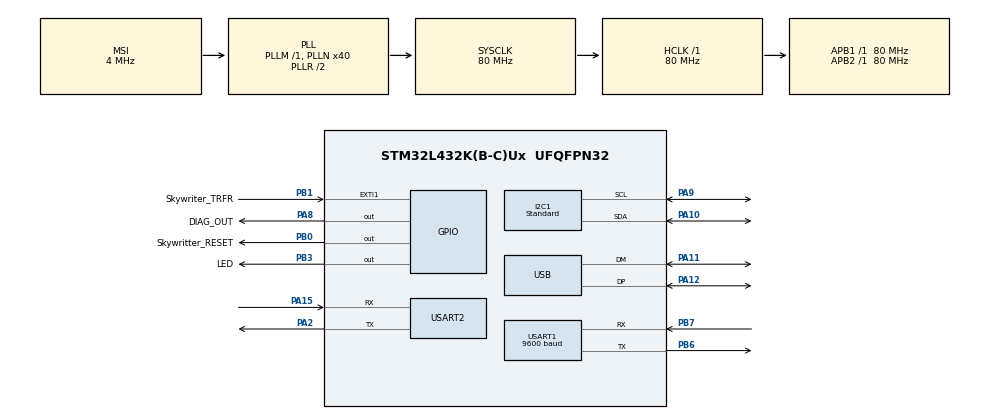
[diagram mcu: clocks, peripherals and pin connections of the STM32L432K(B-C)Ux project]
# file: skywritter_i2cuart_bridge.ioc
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Dma.I2C1_RX.4.Direction=DMA_PERIPH_TO_MEMORY
Dma.I2C1_RX.4.Instance=DMA2_Channel6
Dma.I2C1_RX.4.MemDataAlignment=DMA_MDATAALIGN_BYTE
Dma.I2C1_RX.4.MemInc=DMA_MINC_ENABLE
Dma.I2C1_RX.4.Mode=DMA_NORMAL
Dma.I2C1_RX.4.PeriphDataAlignment=DMA_PDATAALIGN_BYTE
Dma.I2C1_RX.4.PeriphInc=DMA_PINC_DISABLE
Dma.I2C1_RX.4.Priority=DMA_PRIORITY_LOW
Dma.I2C1_TX.5.Direction=DMA_MEMORY_TO_PERIPH
Dma.I2C1_TX.5.Instance=DMA2_Channel7
Dma.I2C1_TX.5.MemDataAlignment=DMA_MDATAALIGN_BYTE
Dma.I2C1_TX.5.MemInc=DMA_MINC_ENABLE
Dma.I2C1_TX.5.Mode=DMA_NORMAL
Dma.I2C1_TX.5.PeriphDataAlignment=DMA_PDATAALIGN_BYTE
Dma.I2C1_TX.5.PeriphInc=DMA_PINC_DISABLE
Dma.I2C1_TX.5.Priority=DMA_PRIORITY_LOW
Dma.Request0=USART1_RX
Dma.Request1=USART1_TX
Dma.Request2=USART2_RX
Dma.Request3=USART2_TX
Dma.Request4=I2C1_RX
Dma.Request5=I2C1_TX
Dma.USART1_RX.0.Direction=DMA_PERIPH_TO_MEMORY
Dma.USART1_RX.0.Instance=DMA1_Channel5
Dma.USART1_RX.0.MemDataAlignment=DMA_MDATAALIGN_BYTE
Dma.USART1_RX.0.MemInc=DMA_MINC_ENABLE
Dma.USART1_RX.0.Mode=DMA_NORMAL
Dma.USART1_RX.0.PeriphDataAlignment=DMA_PDATAALIGN_BYTE
Dma.USART1_RX.0.PeriphInc=DMA_PINC_DISABLE
Dma.USART1_RX.0.Priority=DMA_PRIORITY_LOW
Dma.USART1_TX.1.Direction=DMA_MEMORY_TO_PERIPH
Dma.USART1_TX.1.Instance=DMA1_Channel4
Dma.USART1_TX.1.MemDataAlignment=DMA_MDATAALIGN_BYTE
Dma.USART1_TX.1.MemInc=DMA_MINC_ENABLE
Dma.USART1_TX.1.Mode=DMA_NORMAL
Dma.USART1_TX.1.PeriphDataAlignment=DMA_PDATAALIGN_BYTE
Dma.USART1_TX.1.PeriphInc=DMA_PINC_DISABLE
Dma.USART1_TX.1.Priority=DMA_PRIORITY_LOW
Dma.USART2_RX.2.Direction=DMA_PERIPH_TO_MEMORY
Dma.USART2_RX.2.Instance=DMA1_Channel6
Dma.USART2_RX.2.MemDataAlignment=DMA_MDATAALIGN_BYTE
Dma.USART2_RX.2.MemInc=DMA_MINC_ENABLE
Dma.USART2_RX.2.Mode=DMA_NORMAL
Dma.USART2_RX.2.PeriphDataAlignment=DMA_PDATAALIGN_BYTE
Dma.USART2_RX.2.PeriphInc=DMA_PINC_DISABLE
Dma.USART2_RX.2.Priority=DMA_PRIORITY_LOW
Dma.USART2_TX.3.Direction=DMA_MEMORY_TO_PERIPH
Dma.USART2_TX.3.Instance=DMA1_Channel7
Dma.USART2_TX.3.MemDataAlignment=DMA_MDATAALIGN_BYTE
Dma.USART2_TX.3.MemInc=DMA_MINC_ENABLE
Dma.USART2_TX.3.Mode=DMA_NORMAL
Dma.USART2_TX.3.PeriphDataAlignment=DMA_PDATAALIGN_BYTE
Dma.USART2_TX.3.PeriphInc=DMA_PINC_DISABLE
Dma.USART2_TX.3.Priority=DMA_PRIORITY_LOW
I2C1.I2C_Speed_Mode=I2C_Standard
I2C1.Timing=0x10909CEC
Mcu.Family=STM32L4
Mcu.Name=STM32L432K(B-C)Ux
Mcu.Package=UFQFPN32
NVIC.DMA1_Channel4_IRQn=true\:0\:0\:false\:false\:true\:false
NVIC.DMA1_Channel5_IRQn=true\:0\:0\:false\:false\:true\:false
NVIC.DMA1_Channel6_IRQn=true\:0\:0\:false\:false\:true\:false
NVIC.DMA1_Channel7_IRQn=true\:0\:0\:false\:false\:true\:false
NVIC.DMA2_Channel6_IRQn=true\:0\:0\:false\:false\:true\:false
NVIC.DMA2_Channel7_IRQn=true\:0\:0\:false\:false\:true\:false
NVIC.EXTI1_IRQn=true\:0\:0\:false\:false\:true\:true
NVIC.I2C1_ER_IRQn=true\:0\:0\:false\:false\:true\:true
NVIC.I2C1_EV_IRQn=true\:0\:0\:false\:false\:true\:true
NVIC.PriorityGroup=NVIC_PRIORITYGROUP_4
NVIC.USART1_IRQn=true\:0\:0\:false\:false\:true\:true
NVIC.USART2_IRQn=true\:0\:0\:false\:false\:true\:true
NVIC.USB_IRQn=true\:0\:0\:false\:false\:true\:false
PA10.Mode=I2C
PA10.Signal=I2C1_SDA
PA11.Mode=Device
PA11.Signal=USB_DM
PA12.Mode=Device
PA12.Signal=USB_DP
PA13\ (JTMS-SWDIO).Mode=Serial_Wire
PA13\ (JTMS-SWDIO).Signal=SYS_JTMS-SWDIO
PA14\ (JTCK-SWCLK).Mode=Serial_Wire
PA14\ (JTCK-SWCLK).Signal=SYS_JTCK-SWCLK
PA15\ (JTDI).Mode=Asynchronous
PA15\ (JTDI).Signal=USART2_RX
PA2.Mode=Asynchronous
PA2.Signal=USART2_TX
PA8.GPIO_Label=DIAG_OUT
PA8.Signal=GPIO_Output
PA9.Mode=I2C
PA9.Signal=I2C1_SCL
PB0.GPIO_Label=Skywritter_RESET
PB0.PinState=GPIO_PIN_RESET
PB0.Signal=GPIO_Output
PB1.GPIO_Label=Skywriter_TRFR
PB1.GPIO_ModeDefaultEXTI=GPIO_MODE_IT_FALLING
PB1.GPIO_PuPd=GPIO_PULLUP
PB1.Signal=GPXTI1
PB3\ (JTDO-TRACESWO).GPIO_Label=LED
PB3\ (JTDO-TRACESWO).PinState=GPIO_PIN_RESET
PB3\ (JTDO-TRACESWO).Signal=GPIO_Output
PB6.Mode=Asynchronous
PB6.Signal=USART1_TX
PB7.Mode=Asynchronous
PB7.Signal=USART1_RX
PC14-OSC32_IN\ (PC14).Mode=LSE-External-Oscillator
PC14-OSC32_IN\ (PC14).Signal=RCC_OSC32_IN
PC15-OSC32_OUT\ (PC15).Mode=LSE-External-Oscillator
PC15-OSC32_OUT\ (PC15).Signal=RCC_OSC32_OUT
ProjectManager.HeapSize=0x200
ProjectManager.StackSize=0x400
ProjectManager.TargetToolchain=Makefile
RCC.ADCFreq_Value=48000000
RCC.AHBFreq_Value=80000000
RCC.APB1Freq_Value=80000000
RCC.APB1TimFreq_Value=80000000
RCC.APB2Freq_Value=80000000
RCC.APB2TimFreq_Value=80000000
RCC.CortexFreq_Value=80000000
RCC.EnableCSSLSE=true
RCC.HCLKFreq_Value=80000000
RCC.HSE_VALUE=8000000
RCC.HSI48_VALUE=48000000
RCC.HSI_VALUE=16000000
RCC.MSI_VALUE=4000000
RCC.PLLN=40
RCC.PLLSAI1N=24
RCC.RTCClockSelection=RCC_RTCCLKSOURCE_LSE
RCC.SYSCLKFreq_VALUE=80000000
RCC.SYSCLKSource=RCC_SYSCLKSOURCE_PLLCLK
RCC.USBFreq_Value=48000000
RCC.VCOOutputFreq_Value=160000000
USART1.BaudRate=9600
USART1.VirtualMode-Asynchronous=VM_ASYNC
USART2.VirtualMode-Asynchronous=VM_ASYNC
USB_DEVICE.CLASS_NAME_FS=CUSTOMHID
USB_DEVICE.VirtualMode=CustomHid
USB_DEVICE.VirtualModeFS=Custom_Hid_FS
VP_RTC_VS_RTC_Activate.Mode=RTC_Enabled
VP_RTC_VS_RTC_Calendar.Mode=RTC_Calendar
VP_USB_DEVICE_VS_USB_DEVICE_CUSTOM_HID_FS.Mode=CUSTOM_HID_FS
board=custom

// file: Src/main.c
/* USER CODE BEGIN Header */
/**
  ******************************************************************************
  * @file           : main.c
  * @brief          : Main program body
  ******************************************************************************
  * This notice applies to any and all portions of this file
  * that are not between comment pairs USER CODE BEGIN and
  * USER CODE END. Other portions of this file, whether
  * inserted by the user or by software development tools
  * are owned by their respective copyright owners.
  *
  * Copyright (c) 2018 STMicroelectronics International N.V.
  * All rights reserved.
  *
  * Redistribution and use in source and binary forms, with or without
  * modification, are permitted, provided that the following conditions are met:
  *
  * 1. Redistribution of source code must retain the above copyright notice,
  *    this list of conditions and the following disclaimer.
  * 2. Redistributions in binary form must reproduce the above copyright notice,
  *    this list of conditions and the following disclaimer in the documentation
  *    and/or other materials provided with the distribution.
  * 3. Neither the name of STMicroelectronics nor the names of other
  *    contributors to this software may be used to endorse or promote products
  *    derived from this software without specific written permission.
  * 4. This software, including modifications and/or derivative works of this
  *    software, must execute solely and exclusively on microcontroller or
  *    microprocessor devices manufactured by or for STMicroelectronics.
  * 5. Redistribution and use of this software other than as permitted under
  *    this license is void and will automatically terminate your rights under
  *    this license.
  *
  * THIS SOFTWARE IS PROVIDED BY STMICROELECTRONICS AND CONTRIBUTORS "AS IS"
  * AND ANY EXPRESS, IMPLIED OR STATUTORY WARRANTIES, INCLUDING, BUT NOT
  * LIMITED TO, THE IMPLIED WARRANTIES OF MERCHANTABILITY, FITNESS FOR A
  * PARTICULAR PURPOSE AND NON-INFRINGEMENT OF THIRD PARTY INTELLECTUAL PROPERTY
  * RIGHTS ARE DISCLAIMED TO THE FULLEST EXTENT PERMITTED BY LAW. IN NO EVENT
  * SHALL STMICROELECTRONICS OR CONTRIBUTORS BE LIABLE FOR ANY DIRECT, INDIRECT,
  * INCIDENTAL, SPECIAL, EXEMPLARY, OR CONSEQUENTIAL DAMAGES (INCLUDING, BUT NOT
  * LIMITED TO, PROCUREMENT OF SUBSTITUTE GOODS OR SERVICES; LOSS OF USE, DATA,
  * OR PROFITS; OR BUSINESS INTERRUPTION) HOWEVER CAUSED AND ON ANY THEORY OF
  * LIABILITY, WHETHER IN CONTRACT, STRICT LIABILITY, OR TORT (INCLUDING
  * NEGLIGENCE OR OTHERWISE) ARISING IN ANY WAY OUT OF THE USE OF THIS SOFTWARE,
  * EVEN IF ADVISED OF THE POSSIBILITY OF SUCH DAMAGE.
  *
  ******************************************************************************
  */
/* USER CODE END Header */

#include "main.h"
#include "usb_device.h"

/* USER CODE BEGIN Includes */
#include "stdio.h"
#include "serial_io.h"
/* USER CODE END Includes */

I2C_HandleTypeDef hi2c1;
DMA_HandleTypeDef hdma_i2c1_rx;
DMA_HandleTypeDef hdma_i2c1_tx;

RTC_HandleTypeDef hrtc;

UART_HandleTypeDef huart1;
UART_HandleTypeDef huart2;
DMA_HandleTypeDef hdma_usart1_rx;
DMA_HandleTypeDef hdma_usart1_tx;
DMA_HandleTypeDef hdma_usart2_rx;
DMA_HandleTypeDef hdma_usart2_tx;

/* USER CODE BEGIN PV */
/* Private variables ---------------------------------------------------------*/
typedef enum
{
    I2C_IDLE,
    I2C_DATA_READY,
    I2C_WAITING_FOR_HEADER,
    I2C_HEADER_RECEIVED,
    I2C_WAITING_FOR_PAYLOAD,
    I2C_PAYLOAD_RECEIVED,
    I2C_WAITING_FRAME_SEND,
    I2C_ERROR,
} I2C_RX_STATE;

typedef enum
{
    UART_IDLE,
    UART_WAITING_FOR_HEADER,
    UART_HEADER_READY,
    UART_WAITING_FOR_FRAME,
    UART_FRAME_READY,
    UART_WAITING_FOR_DISPATCHING,
    UART_MESSAGE_DISPATCHED,
    UART_WAITING_FOR_I2C_ANSWER,
    UART_WAITING_FOR_ANSWER_SENT,
} UART_RX_STATE;

typedef struct i2c_heder_t_
{
    uint8_t size;
    uint8_t flags;
    uint8_t seqnr;
    uint8_t msgid;
} i2c_heder_t;

static const uint8_t UART_HEADER[]={0xFE, 0xFF};
static const uint32_t TIMEOUT_MS = 100;
static const uint16_t I2C_MSG_SIZE = BUF_SIZE;

static uint8_t i2c_buf[BUF_SIZE];
static uint8_t rx_buf[BUF_SIZE];
static uint8_t tx_buf[BUF_SIZE];
static GPIO_InitTypeDef skywr_pin;

//#define UART_USE_BUFFER 1

static sio_t log_io = {
    .uart = &huart2,
    .ready = {true, true},
#if defined(UART_USE_BUFFER)
    .buffer_size ={BUF_SIZE, BUF_SIZE},
    .buffer = {rx_buf, tx_buf},
#else
    .buffer_size ={0, 0},
    .buffer = {NULL, NULL},
#endif
    .bytes_in_buffer = {0,0},
};
static I2C_RX_STATE i2c_state = I2C_IDLE;
#if 0
// Size  Flags  Seq   ID      Command        Reserved      Argument 0                     Argument 1
// Command, Argument 1 and Argument 2 are sent LSByte first, so 1 = 0x01 0x00 etc
// Enable AirWheel, requires 0x20 to be sent in Argument 0 and 1
static const uint8_t air_wheel_en[] = {0x00, 0x00, 0xA2, 0x90, 0x00, 0x00, 0x00, 0x20, 0x00, 0x00, 0x00, 0x20, 0x00, 0x00, 0x00};
// Enable all gestures and X/Y/Z data, 0 = Garbage, 1 = Flick WE, 2 = Flick EW, 3 = Flick SN, 4 = Flick NS, 5 = Circle CW, 6 = Circle CCW
static const uint8_t geasture_en[] = {0x00, 0x00, 0xA2, 0x85, 0x00, 0x00, 0x00, 0x7F, 0x00, 0x00, 0x00, 0x7F, 0x00, 0x00, 0x00};
// Enable all data output 0 = DSP, 1 = Gesture, 2 = Touch, 3 = AirWheel, 4 = Position
static const uint8_t all_en[] = {0x00, 0x00, 0xA2, 0xA0, 0x00, 0x00, 0x00, 0x1F, 0x00, 0x00, 0x00, 0x1F, 0x00, 0x00, 0x00};
// Disable auto-calibration
static const uint8_t autocalib_disable[] = {0x00, 0x00, 0xA2, 0x80, 0x00 , 0x00, 0x00, 0x00, 0x00, 0x00, 0x00, 0x1F, 0x00, 0x00, 0x00};
#endif
/*
 * UART RX stuff
 */
static UART_RX_STATE uart_state = UART_IDLE;

/* USER CODE END PV */

void SystemClock_Config(void);
static void MX_GPIO_Init(void);
static void MX_DMA_Init(void);
static void MX_RTC_Init(void);
static void MX_USART1_UART_Init(void);
static void MX_USART2_UART_Init(void);
static void MX_I2C1_Init(void);
/* USER CODE BEGIN PFP */
/* Private function prototypes -----------------------------------------------*/

/* USER CODE END PFP */

/* USER CODE BEGIN 0 */
/*
 * Handling of communication to the I2C
 */
void HAL_GPIO_EXTI_Callback(uint16_t GPIO_Pin)
{
    if ( (GPIO_Pin == Skywriter_TRFR_Pin) &&
         ( (i2c_state == I2C_IDLE) || (i2c_state == UART_WAITING_FOR_I2C_ANSWER)))
    {
        HAL_GPIO_WritePin(DIAG_OUT_GPIO_Port, DIAG_OUT_Pin, GPIO_PIN_SET);
        i2c_state = I2C_DATA_READY;
    }
}

void HAL_I2C_MemRxCpltCallback(I2C_HandleTypeDef *I2cHandle)
{
    printf("HAL_I2C_MemRxCpltCallback"NL);
}

void HAL_I2C_MasterRxCpltCallback(I2C_HandleTypeDef *I2cHandle)
{
    if ((I2cHandle == &hi2c1) && (i2c_state == I2C_WAITING_FOR_HEADER))
    {
        i2c_state = I2C_HEADER_RECEIVED;
    }
    if ((I2cHandle == &hi2c1) && (i2c_state == I2C_WAITING_FOR_PAYLOAD))
    {
        i2c_state = I2C_PAYLOAD_RECEIVED;
    }
}

void HAL_I2C_MasterTxCpltCallback(I2C_HandleTypeDef *I2cHandle)
{
    if ((I2cHandle == &hi2c1) && (i2c_state == I2C_WAITING_FRAME_SEND))
    {
        uart_state = UART_MESSAGE_DISPATCHED;
        i2c_state = I2C_IDLE;
    }
}

void HAL_I2C_ErrorCallback(I2C_HandleTypeDef *I2cHandle)
{
    if (I2cHandle == &hi2c1)
    {
        i2c_state = I2C_ERROR;
    }
}

void i2c_assert_trfr()
{
    skywr_pin.Mode = GPIO_MODE_OUTPUT_PP;
    HAL_GPIO_WritePin(GPIOB, Skywriter_TRFR_Pin, GPIO_PIN_RESET);
    HAL_GPIO_Init(GPIOB, &skywr_pin);
    //printf("I2C data ready"NL);
    HAL_GPIO_WritePin(LED_GPIO_Port, LED_Pin, GPIO_PIN_SET);
}

void i2c_release_trfr()
{
    HAL_GPIO_WritePin(DIAG_OUT_GPIO_Port, DIAG_OUT_Pin, GPIO_PIN_RESET);
    skywr_pin.Mode = GPIO_MODE_IT_FALLING;
    HAL_GPIO_Init(GPIOB, &skywr_pin);
    HAL_GPIO_WritePin(LED_GPIO_Port, LED_Pin, GPIO_PIN_RESET);
}
/*
 * Handle of UART RX to the host
 */
void HAL_UART_RxCpltCallback(UART_HandleTypeDef *uart)
{
    if (uart->Instance == USART1)
    {
        if (uart_state == UART_WAITING_FOR_HEADER)
        {
            uart_state = UART_HEADER_READY;
        }
        else if (uart_state == UART_WAITING_FOR_FRAME)
        {
            uart_state = UART_FRAME_READY;
        }
    }
}

void HAL_UART_TxCpltCallback(UART_HandleTypeDef *uart)
{
    if (uart->Instance == USART1)
    {
        if (uart_state == UART_WAITING_FOR_ANSWER_SENT)
        {
            uart_state = UART_IDLE;
        }
    }
}

void HAL_UART_ErrorCallback(UART_HandleTypeDef *uart)
{
    if (uart->Instance == USART1)
    {
        uart_state = UART_IDLE;
    }
}
/*
 * UART state machine for data received from the host
 */
void handle_uart_rx(UART_HandleTypeDef *uart)
{
    if (uart->Instance == USART1)
    {
        if (uart_state == UART_IDLE)
        {
            rx_buf[0]=0;
            HAL_UART_Receive_DMA(uart, rx_buf, UART_HEADER_SIZE+I2C_HEADER_SIZE);
            uart_state = UART_WAITING_FOR_HEADER;
            printf("UWFH"NL);
        }
        else if (uart_state == UART_HEADER_READY)
        {
            uint16_t msg_size = rx_buf[UART_HEADER_SIZE];
            if (msg_size>250)
            {
                printf("UWFF %d"NL, msg_size);
            }
            HAL_UART_Receive_DMA(uart, &rx_buf[UART_HEADER_SIZE+I2C_HEADER_SIZE], msg_size-I2C_HEADER_SIZE);
            uart_state = UART_WAITING_FOR_FRAME;
        }
        else if (uart_state == UART_FRAME_READY)
        {
            uart_state = UART_WAITING_FOR_DISPATCHING;
            printf("UWFD"NL);
        }
        else if (uart_state == UART_MESSAGE_DISPATCHED)
        {
            uart_state = UART_IDLE;
            printf("II"NL);
            printf("UI"NL);
        }
    }
    return;
}

/* USER CODE END 0 */

int main(void)
{
  /* USER CODE BEGIN 1 */
    uint32_t i2c_transfer_start = 0;
    uint32_t ltick = HAL_GetTick();
  /* USER CODE END 1 */

  /* MCU Configuration--------------------------------------------------------*/

  /* Reset of all peripherals, Initializes the Flash interface and the Systick. */
  HAL_Init();

  /* Configure the system clock */
  SystemClock_Config();

  /* Initialize all configured peripherals */
  MX_GPIO_Init();
  MX_DMA_Init();
  MX_RTC_Init();
  MX_USART1_UART_Init();
  MX_USART2_UART_Init();
  MX_USB_DEVICE_Init();
  MX_I2C1_Init();
  /* USER CODE BEGIN 2 */
    tx_buf[0] = UART_HEADER[0];
    tx_buf[1] = UART_HEADER[1];
    serial_io_init(&log_io);
    printf(NL NL">>> Start up"NL);
    skywr_pin.Pin = Skywriter_TRFR_Pin;
    skywr_pin.Mode = GPIO_MODE_IT_FALLING;
    skywr_pin.Pull = GPIO_NOPULL;
    skywr_pin.Speed = GPIO_SPEED_FREQ_LOW;

    HAL_GPIO_WritePin(Skywritter_RESET_GPIO_Port, Skywritter_RESET_Pin, GPIO_PIN_RESET);
    HAL_Delay(10);
    HAL_GPIO_WritePin(Skywritter_RESET_GPIO_Port, Skywritter_RESET_Pin, GPIO_PIN_SET);

  /* USER CODE END 2 */

  /* Infinite loop */
  /* USER CODE BEGIN WHILE */
    while (1)
    {
        uint32_t tick = HAL_GetTick();
        if (i2c_state == I2C_DATA_READY)
        {
            i2c_assert_trfr();
            i2c_transfer_start = tick;
            //printf("I2C data ready"NL);
            /* obtain data from I2C */
            HAL_I2C_Master_Sequential_Receive_DMA(&hi2c1, SKYWRITER_I2C_ADR<<1, i2c_buf, I2C_HEADER_SIZE, I2C_FIRST_AND_NEXT_FRAME);
            i2c_state =I2C_WAITING_FOR_HEADER;
            printf("IWFH"NL);
        }
        else if (i2c_state == I2C_HEADER_RECEIVED)
        {
            uint16_t msg_size = i2c_buf[0]-I2C_HEADER_SIZE;
            HAL_I2C_Master_Sequential_Receive_DMA(&hi2c1, SKYWRITER_I2C_ADR<<1, &i2c_buf[I2C_HEADER_SIZE], msg_size, I2C_LAST_FRAME);
            i2c_state =I2C_WAITING_FOR_PAYLOAD;
            printf("IWFP"NL);
        }
        else if (i2c_state == I2C_PAYLOAD_RECEIVED)
        {
            uint16_t trsfr_size = i2c_buf[0]+UART_HEADER_SIZE;
            memcpy(&tx_buf[UART_HEADER_SIZE], i2c_buf, i2c_buf[0]);
            //uint16_t trsfr_size = UART_HEADER_SIZE;
            //_write(NULL, i2c_buf, trsfr_size);
            /*
            printf("Received I2C data (%d)"NL, timeout);
            for (uint8_t i=0;i<i2c_buf[0];i+=16)
            {
                printf("0x%02x ", i);
                for (uint8_t j=0;j<16;j++)
                {
                    printf("%02x", i2c_buf[i+j]);
                    if (j==8)
                    {
                        printf("  ");
                    }
                }
                printf(NL);
            }
            */
            i2c_release_trfr();
            i2c_state = I2C_IDLE;
            printf("II"NL);
            if (uart_state == UART_WAITING_FOR_I2C_ANSWER)
            {
                HAL_UART_Transmit_DMA(&huart1, tx_buf, trsfr_size);
                uart_state = UART_WAITING_FOR_ANSWER_SENT;
                printf("UWFAS"NL);
            }
        }
        if (i2c_state == I2C_ERROR)
        {
            printf("IE"NL);
            i2c_release_trfr();
            i2c_state = I2C_IDLE;
        }
        /*
        if ( (tick - i2c_transfer_start) > TIMEOUT_MS )
        {
            i2c_state = IDLE;
            printf("II"NL);
        }
        */
        handle_uart_rx(&huart1);
        if ( (uart_state == UART_WAITING_FOR_DISPATCHING) && (i2c_state == I2C_IDLE))
        {
            uint16_t msg_size = rx_buf[UART_HEADER_SIZE];

            HAL_I2C_Master_Transmit_DMA(&hi2c1, SKYWRITER_I2C_ADR<<1, &rx_buf[UART_HEADER_SIZE], msg_size);
            i2c_state = I2C_WAITING_FRAME_SEND;
            uart_state = UART_WAITING_FOR_I2C_ANSWER;
            printf("IWFS %d"NL, msg_size);
       }
    /* USER CODE END WHILE */

    }
}

void SystemClock_Config(void)
{
  RCC_OscInitTypeDef RCC_OscInitStruct = {0};
  RCC_ClkInitTypeDef RCC_ClkInitStruct = {0};
  RCC_PeriphCLKInitTypeDef PeriphClkInit = {0};

  /**Configure LSE Drive Capability
  */
  HAL_PWR_EnableBkUpAccess();
  __HAL_RCC_LSEDRIVE_CONFIG(RCC_LSEDRIVE_LOW);
  /**Initializes the CPU, AHB and APB busses clocks
  */
  RCC_OscInitStruct.OscillatorType = RCC_OSCILLATORTYPE_LSE|RCC_OSCILLATORTYPE_MSI;
  RCC_OscInitStruct.LSEState = RCC_LSE_ON;
  RCC_OscInitStruct.MSIState = RCC_MSI_ON;
  RCC_OscInitStruct.MSICalibrationValue = 0;
  RCC_OscInitStruct.MSIClockRange = RCC_MSIRANGE_6;
  RCC_OscInitStruct.PLL.PLLState = RCC_PLL_ON;
  RCC_OscInitStruct.PLL.PLLSource = RCC_PLLSOURCE_MSI;
  RCC_OscInitStruct.PLL.PLLM = 1;
  RCC_OscInitStruct.PLL.PLLN = 40;
  RCC_OscInitStruct.PLL.PLLP = RCC_PLLP_DIV7;
  RCC_OscInitStruct.PLL.PLLQ = RCC_PLLQ_DIV2;
  RCC_OscInitStruct.PLL.PLLR = RCC_PLLR_DIV2;
  if (HAL_RCC_OscConfig(&RCC_OscInitStruct) != HAL_OK)
  {
    Error_Handler();
  }
  /**Initializes the CPU, AHB and APB busses clocks
  */
  RCC_ClkInitStruct.ClockType = RCC_CLOCKTYPE_HCLK|RCC_CLOCKTYPE_SYSCLK
                              |RCC_CLOCKTYPE_PCLK1|RCC_CLOCKTYPE_PCLK2;
  RCC_ClkInitStruct.SYSCLKSource = RCC_SYSCLKSOURCE_PLLCLK;
  RCC_ClkInitStruct.AHBCLKDivider = RCC_SYSCLK_DIV1;
  RCC_ClkInitStruct.APB1CLKDivider = RCC_HCLK_DIV1;
  RCC_ClkInitStruct.APB2CLKDivider = RCC_HCLK_DIV1;

  if (HAL_RCC_ClockConfig(&RCC_ClkInitStruct, FLASH_LATENCY_4) != HAL_OK)
  {
    Error_Handler();
  }
  PeriphClkInit.PeriphClockSelection = RCC_PERIPHCLK_RTC|RCC_PERIPHCLK_USART1
                              |RCC_PERIPHCLK_USART2|RCC_PERIPHCLK_I2C1
                              |RCC_PERIPHCLK_USB;
  PeriphClkInit.Usart1ClockSelection = RCC_USART1CLKSOURCE_PCLK2;
  PeriphClkInit.Usart2ClockSelection = RCC_USART2CLKSOURCE_PCLK1;
  PeriphClkInit.I2c1ClockSelection = RCC_I2C1CLKSOURCE_PCLK1;
  PeriphClkInit.RTCClockSelection = RCC_RTCCLKSOURCE_LSE;
  PeriphClkInit.UsbClockSelection = RCC_USBCLKSOURCE_PLLSAI1;
  PeriphClkInit.PLLSAI1.PLLSAI1Source = RCC_PLLSOURCE_MSI;
  PeriphClkInit.PLLSAI1.PLLSAI1M = 1;
  PeriphClkInit.PLLSAI1.PLLSAI1N = 24;
  PeriphClkInit.PLLSAI1.PLLSAI1P = RCC_PLLP_DIV7;
  PeriphClkInit.PLLSAI1.PLLSAI1Q = RCC_PLLQ_DIV2;
  PeriphClkInit.PLLSAI1.PLLSAI1R = RCC_PLLR_DIV2;
  PeriphClkInit.PLLSAI1.PLLSAI1ClockOut = RCC_PLLSAI1_48M2CLK;
  if (HAL_RCCEx_PeriphCLKConfig(&PeriphClkInit) != HAL_OK)
  {
    Error_Handler();
  }
  /**Enables the Clock Security System
  */
  HAL_RCCEx_EnableLSECSS();
  /**Configure the main internal regulator output voltage
  */
  if (HAL_PWREx_ControlVoltageScaling(PWR_REGULATOR_VOLTAGE_SCALE1) != HAL_OK)
  {
    Error_Handler();
  }
  /**Enable MSI Auto calibration
  */
  HAL_RCCEx_EnableMSIPLLMode();
}

static void MX_I2C1_Init(void)
{

  hi2c1.Instance = I2C1;
  hi2c1.Init.Timing = 0x10909CEC;
  hi2c1.Init.OwnAddress1 = 0;
  hi2c1.Init.AddressingMode = I2C_ADDRESSINGMODE_7BIT;
  hi2c1.Init.DualAddressMode = I2C_DUALADDRESS_DISABLE;
  hi2c1.Init.OwnAddress2 = 0;
  hi2c1.Init.OwnAddress2Masks = I2C_OA2_NOMASK;
  hi2c1.Init.GeneralCallMode = I2C_GENERALCALL_DISABLE;
  hi2c1.Init.NoStretchMode = I2C_NOSTRETCH_DISABLE;
  if (HAL_I2C_Init(&hi2c1) != HAL_OK)
  {
    Error_Handler();
  }
  /**Configure Analogue filter
  */
  if (HAL_I2CEx_ConfigAnalogFilter(&hi2c1, I2C_ANALOGFILTER_ENABLE) != HAL_OK)
  {
    Error_Handler();
  }
  /**Configure Digital filter
  */
  if (HAL_I2CEx_ConfigDigitalFilter(&hi2c1, 0) != HAL_OK)
  {
    Error_Handler();
  }

}

static void MX_RTC_Init(void)
{

  RTC_TimeTypeDef sTime = {0};
  RTC_DateTypeDef sDate = {0};

  /**Initialize RTC Only
  */
  hrtc.Instance = RTC;
  hrtc.Init.HourFormat = RTC_HOURFORMAT_24;
  hrtc.Init.AsynchPrediv = 127;
  hrtc.Init.SynchPrediv = 255;
  hrtc.Init.OutPut = RTC_OUTPUT_DISABLE;
  hrtc.Init.OutPutRemap = RTC_OUTPUT_REMAP_NONE;
  hrtc.Init.OutPutPolarity = RTC_OUTPUT_POLARITY_HIGH;
  hrtc.Init.OutPutType = RTC_OUTPUT_TYPE_OPENDRAIN;
  if (HAL_RTC_Init(&hrtc) != HAL_OK)
  {
    Error_Handler();
  }

  /**Initialize RTC and set the Time and Date
  */
  sTime.Hours = 0x0;
  sTime.Minutes = 0x0;
  sTime.Seconds = 0x0;
  sTime.DayLightSaving = RTC_DAYLIGHTSAVING_NONE;
  sTime.StoreOperation = RTC_STOREOPERATION_RESET;
  if (HAL_RTC_SetTime(&hrtc, &sTime, RTC_FORMAT_BCD) != HAL_OK)
  {
    Error_Handler();
  }
  sDate.WeekDay = RTC_WEEKDAY_MONDAY;
  sDate.Month = RTC_MONTH_JANUARY;
  sDate.Date = 0x1;
  sDate.Year = 0x0;

  if (HAL_RTC_SetDate(&hrtc, &sDate, RTC_FORMAT_BCD) != HAL_OK)
  {
    Error_Handler();
  }

}

static void MX_USART1_UART_Init(void)
{

  huart1.Instance = USART1;
  huart1.Init.BaudRate = 9600;
  huart1.Init.WordLength = UART_WORDLENGTH_8B;
  huart1.Init.StopBits = UART_STOPBITS_1;
  huart1.Init.Parity = UART_PARITY_NONE;
  huart1.Init.Mode = UART_MODE_TX_RX;
  huart1.Init.HwFlowCtl = UART_HWCONTROL_NONE;
  huart1.Init.OverSampling = UART_OVERSAMPLING_16;
  huart1.Init.OneBitSampling = UART_ONE_BIT_SAMPLE_DISABLE;
  huart1.AdvancedInit.AdvFeatureInit = UART_ADVFEATURE_NO_INIT;
  if (HAL_UART_Init(&huart1) != HAL_OK)
  {
    Error_Handler();
  }

}

static void MX_USART2_UART_Init(void)
{

  huart2.Instance = USART2;
  huart2.Init.BaudRate = 115200;
  huart2.Init.WordLength = UART_WORDLENGTH_8B;
  huart2.Init.StopBits = UART_STOPBITS_1;
  huart2.Init.Parity = UART_PARITY_NONE;
  huart2.Init.Mode = UART_MODE_TX_RX;
  huart2.Init.HwFlowCtl = UART_HWCONTROL_NONE;
  huart2.Init.OverSampling = UART_OVERSAMPLING_16;
  huart2.Init.OneBitSampling = UART_ONE_BIT_SAMPLE_DISABLE;
  huart2.AdvancedInit.AdvFeatureInit = UART_ADVFEATURE_NO_INIT;
  if (HAL_UART_Init(&huart2) != HAL_OK)
  {
    Error_Handler();
  }

}

static void MX_DMA_Init(void)
{
  /* DMA controller clock enable */
  __HAL_RCC_DMA1_CLK_ENABLE();
  __HAL_RCC_DMA2_CLK_ENABLE();

  /* DMA interrupt init */
  /* DMA1_Channel4_IRQn interrupt configuration */
  HAL_NVIC_SetPriority(DMA1_Channel4_IRQn, 0, 0);
  HAL_NVIC_EnableIRQ(DMA1_Channel4_IRQn);
  /* DMA1_Channel5_IRQn interrupt configuration */
  HAL_NVIC_SetPriority(DMA1_Channel5_IRQn, 0, 0);
  HAL_NVIC_EnableIRQ(DMA1_Channel5_IRQn);
  /* DMA1_Channel6_IRQn interrupt configuration */
  HAL_NVIC_SetPriority(DMA1_Channel6_IRQn, 0, 0);
  HAL_NVIC_EnableIRQ(DMA1_Channel6_IRQn);
  /* DMA1_Channel7_IRQn interrupt configuration */
  HAL_NVIC_SetPriority(DMA1_Channel7_IRQn, 0, 0);
  HAL_NVIC_EnableIRQ(DMA1_Channel7_IRQn);
  /* DMA2_Channel6_IRQn interrupt configuration */
  HAL_NVIC_SetPriority(DMA2_Channel6_IRQn, 0, 0);
  HAL_NVIC_EnableIRQ(DMA2_Channel6_IRQn);
  /* DMA2_Channel7_IRQn interrupt configuration */
  HAL_NVIC_SetPriority(DMA2_Channel7_IRQn, 0, 0);
  HAL_NVIC_EnableIRQ(DMA2_Channel7_IRQn);

}

static void MX_GPIO_Init(void)
{
  GPIO_InitTypeDef GPIO_InitStruct = {0};

  /* GPIO Ports Clock Enable */
  __HAL_RCC_GPIOC_CLK_ENABLE();
  __HAL_RCC_GPIOA_CLK_ENABLE();
  __HAL_RCC_GPIOB_CLK_ENABLE();
  __HAL_RCC_GPIOH_CLK_ENABLE();

  /*Configure GPIO pin Output Level */
  HAL_GPIO_WritePin(GPIOB, Skywritter_RESET_Pin|LED_Pin, GPIO_PIN_RESET);

  /*Configure GPIO pin Output Level */
  HAL_GPIO_WritePin(DIAG_OUT_GPIO_Port, DIAG_OUT_Pin, GPIO_PIN_RESET);

  /*Configure GPIO pins : PA0 PA1 PA3 PA4
                           PA5 PA6 PA7 */
  GPIO_InitStruct.Pin = GPIO_PIN_0|GPIO_PIN_1|GPIO_PIN_3|GPIO_PIN_4
                          |GPIO_PIN_5|GPIO_PIN_6|GPIO_PIN_7;
  GPIO_InitStruct.Mode = GPIO_MODE_ANALOG;
  GPIO_InitStruct.Pull = GPIO_NOPULL;
  HAL_GPIO_Init(GPIOA, &GPIO_InitStruct);

  /*Configure GPIO pins : Skywritter_RESET_Pin LED_Pin */
  GPIO_InitStruct.Pin = Skywritter_RESET_Pin|LED_Pin;
  GPIO_InitStruct.Mode = GPIO_MODE_OUTPUT_PP;
  GPIO_InitStruct.Pull = GPIO_NOPULL;
  GPIO_InitStruct.Speed = GPIO_SPEED_FREQ_LOW;
  HAL_GPIO_Init(GPIOB, &GPIO_InitStruct);

  /*Configure GPIO pin : Skywriter_TRFR_Pin */
  GPIO_InitStruct.Pin = Skywriter_TRFR_Pin;
  GPIO_InitStruct.Mode = GPIO_MODE_IT_FALLING;
  GPIO_InitStruct.Pull = GPIO_PULLUP;
  HAL_GPIO_Init(Skywriter_TRFR_GPIO_Port, &GPIO_InitStruct);

  /*Configure GPIO pin : DIAG_OUT_Pin */
  GPIO_InitStruct.Pin = DIAG_OUT_Pin;
  GPIO_InitStruct.Mode = GPIO_MODE_OUTPUT_PP;
  GPIO_InitStruct.Pull = GPIO_NOPULL;
  GPIO_InitStruct.Speed = GPIO_SPEED_FREQ_LOW;
  HAL_GPIO_Init(DIAG_OUT_GPIO_Port, &GPIO_InitStruct);

  /*Configure GPIO pins : PB4 PB5 */
  GPIO_InitStruct.Pin = GPIO_PIN_4|GPIO_PIN_5;
  GPIO_InitStruct.Mode = GPIO_MODE_ANALOG;
  GPIO_InitStruct.Pull = GPIO_NOPULL;
  HAL_GPIO_Init(GPIOB, &GPIO_InitStruct);

  /*Configure GPIO pin : PH3 */
  GPIO_InitStruct.Pin = GPIO_PIN_3;
  GPIO_InitStruct.Mode = GPIO_MODE_ANALOG;
  GPIO_InitStruct.Pull = GPIO_NOPULL;
  HAL_GPIO_Init(GPIOH, &GPIO_InitStruct);

  /* EXTI interrupt init*/
  HAL_NVIC_SetPriority(EXTI1_IRQn, 0, 0);
  HAL_NVIC_EnableIRQ(EXTI1_IRQn);

}

void Error_Handler(void)
{
  while(1)
  {
  }
}

/************************ (C) COPYRIGHT STMicroelectronics *****END OF FILE****/
